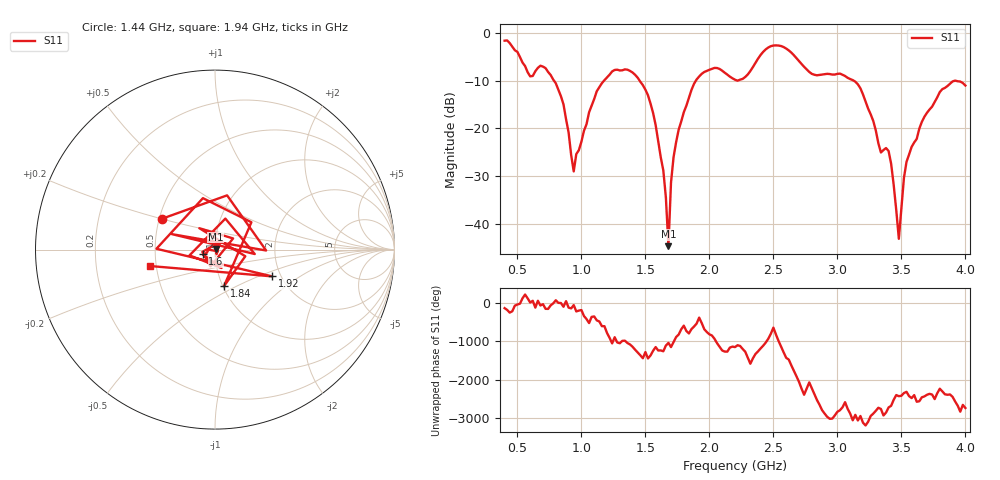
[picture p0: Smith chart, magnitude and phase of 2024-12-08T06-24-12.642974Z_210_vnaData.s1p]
!Created with skrf (http://scikit-rf.org).
# Hz S RI R 50.0
!freq ReS11 ImS11
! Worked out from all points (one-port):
!   181 points, 400 MHz to 4 GHz, reference 50 ohm
!   lowest |S11| = -44.7 dB at 1.68 GHz (marker M1), VSWR 1.01, Z = 50.5 + j0.363 ohm
!   |S11| at or under -10 dB: 786.3 MHz to 1.176 GHz (389.7 MHz wide, 39.7 % of centre); 1.455 GHz to 1.894 GHz (438.4 MHz wide, 26.2 % of centre); 3.129 GHz to 3.915 GHz (786.6 MHz wide, 22.3 % of centre) (the widest 3 of 4)
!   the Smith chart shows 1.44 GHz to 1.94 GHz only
!   S11 on the Smith chart (normalised r, x): 1.44 GHz: 0.52, +0.20; 1.6 GHz: 0.87, -0.05; 1.84 GHz: 1.01, -0.43; 1.92 GHz: 1.80, -0.61; 1.94 GHz: 0.46, -0.10
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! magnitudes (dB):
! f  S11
! 400 MHz  -1.6
! 600 MHz  -9.1
! 720 MHz  -7.3
! 860 MHz  -14.9
! 940 MHz  -29.0
! 1.12 GHz  -12.2
! 1.3 GHz  -7.8
! 1.44 GHz  -9.4
! 1.6 GHz  -22.7
! 1.64 GHz  -28.8
! 1.68 GHz  -44.7
! 1.7 GHz  -31.4
! 1.76 GHz  -20.3
! 1.84 GHz  -13.6
! 1.92 GHz  -9.1
! 1.94 GHz  -8.5
! 2.2 GHz  -9.8
! 2.48 GHz  -2.7
! 2.66 GHz  -4.6
! 3.1 GHz  -9.6
! 3.18 GHz  -11.6
! 3.34 GHz  -25.0
! 3.4 GHz  -24.7
! 3.48 GHz  -43.2
! 3.52 GHz  -30.4
! 3.56 GHz  -25.5
! 3.8 GHz  -12.4
! 4 GHz  -11.0
